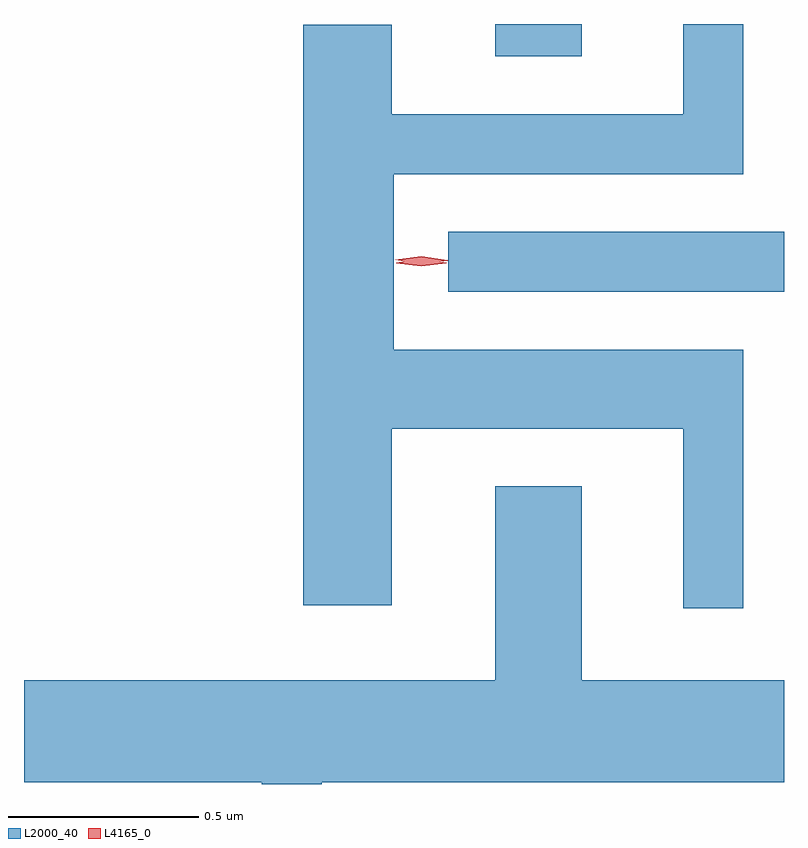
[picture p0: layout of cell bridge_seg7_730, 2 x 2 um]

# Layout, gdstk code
import gdstk
lib = gdstk.Library(unit=1e-6, precision=1e-09)
def R(c, l, rs):  # rectangles x0, y0, x1, y1
    for r in rs: c.add(gdstk.rectangle(r[:2], r[2:], *l))
def P(c, l, *ps):  # polygons
    for p in ps: c.add(gdstk.Polygon(p, *l))
L2000_40 = (2000, 40)
L4165_0 = (4165, 0)

bridge_seg7_730 = lib.new_cell('bridge_seg7_730')
R(bridge_seg7_730, L2000_40, [(877.608,1675.646,878.491,1675.804), (877.731,1676.266,877.959,1676.351)])
P(bridge_seg7_730, L2000_40, [(878.384,1675.494),(877.464,1675.494),(877.464,1675.956),(878.384,1675.956),(878.384,1676.351),(878.226,1676.351),(878.226,1676.114),(877.459,1676.114),(877.459,1676.349),(877.226,1676.349),(877.226,1674.821),(877.459,1674.821),(877.459,1675.286),(878.226,1675.286),(878.226,1674.813),(878.384,1674.813)],
  [(877.274,1674.356),(878.491,1674.356),(878.491,1674.624),(877.959,1674.624),(877.959,1675.134),(877.731,1675.134),(877.731,1674.624),(876.491,1674.624),(876.491,1674.356),(877.116,1674.356),(877.116,1674.351),(877.274,1674.351)])
P(bridge_seg7_730, L4165_0, [(877.536,1675.713),(877.47,1675.722),(877.47,1675.723),(877.47,1675.723),(877.536,1675.733),(877.602,1675.723),(877.603,1675.723),(877.602,1675.722)],
  [(877.537,1675.719),(877.468,1675.73),(877.467,1675.73),(877.468,1675.731),(877.537,1675.74),(877.606,1675.729),(877.606,1675.729),(877.606,1675.728)])

lib.write_gds('bridge_seg7_730.gds')
